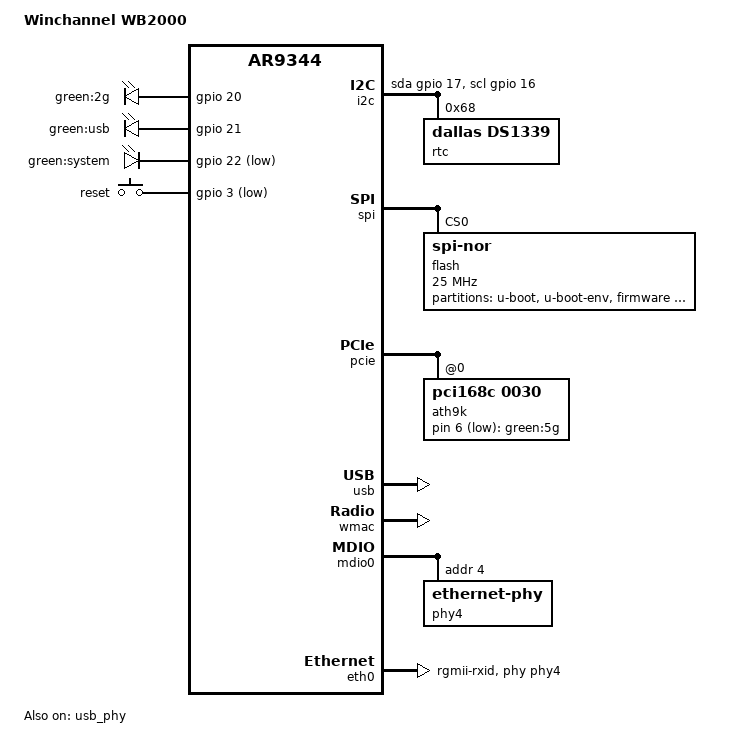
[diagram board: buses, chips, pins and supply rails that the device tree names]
// SPDX-License-Identifier: GPL-2.0-or-later OR MIT

#include "ar9344.dtsi"

#include <dt-bindings/gpio/gpio.h>
#include <dt-bindings/input/input.h>

/ {
	model = "Winchannel WB2000";
	compatible = "winchannel,wb2000", "qca,ar9344";

	chosen {
		bootargs = "console=ttyS0,115200n8";
	};

	aliases {
		led-boot = &led_system;
		led-failsafe = &led_system;
		led-running = &led_system;
		led-upgrade = &led_system;
	};

	i2c {
		compatible = "i2c-gpio";
		gpios = <&gpio 17 GPIO_ACTIVE_HIGH
			 &gpio 16 GPIO_ACTIVE_HIGH
			>;
		#address-cells = <1>;
		#size-cells = <0>;

		rtc@68 {
			compatible = "dallas,ds1339";
			reg = <0x68>;
		};
	};

	leds {
		compatible = "gpio-leds";

		wlan2g {
			label = "green:2g";
			gpios = <&gpio 20 GPIO_ACTIVE_HIGH>;
			linux,default-trigger = "phy0tpt";
		};

		usb {
			label = "green:usb";
			gpios = <&gpio 21 GPIO_ACTIVE_HIGH>;
			trigger-sources = <&hub_port1>, <&hub_port2>;
			linux,default-trigger = "usbport";
		};

		led_system: system {
			label = "green:system";
			gpios = <&gpio 22 GPIO_ACTIVE_LOW>;
			default-state = "on";
		};
	};

	keys {
		compatible = "gpio-keys";

		reset {
			linux,code = <KEY_RESTART>;
			gpios = <&gpio 3 GPIO_ACTIVE_LOW>;
			debounce-interval = <60>;
		};
	};

	ath9k-leds {
		compatible = "gpio-leds";

		wlan {
			label = "green:5g";
			gpios = <&ath9k 6 GPIO_ACTIVE_LOW>;
			linux,default-trigger = "phy1tpt";
		};
	};
};

&ref {
	clock-frequency = <40000000>;
};

&spi {
	status = "okay";

	flash@0 {
		compatible = "jedec,spi-nor";
		reg = <0>;
		spi-max-frequency = <25000000>;

		partitions {
			compatible = "fixed-partitions";
			#address-cells = <1>;
			#size-cells = <1>;

			partition@0 {
				label = "u-boot";
				reg = <0x0 0x40000>;
				read-only;
			};

			partition@40000 {
				label = "u-boot-env";
				reg = <0x40000 0x10000>;
				read-only;
			};

			partition@50000 {
				label = "firmware";
				reg = <0x50000 0xf80000>;
				compatible = "denx,uimage";
			};

			partition@fd0000 {
				label = "nvram";
				reg = <0xfd0000 0x10000>;
				read-only;
			};

			art: partition@fe0000 {
				label = "art";
				reg = <0xfe0000 0x10000>;
				read-only;
			};

			addr: partition@ff0000 {
				label = "addr";
				reg = <0xff0000 0x10000>;
				read-only;
			};
		};
	};
};

&pcie {
	status = "okay";

	ath9k: wifi@0,0 {
		compatible = "pci168c,0030";
		reg = <0x0000 0 0 0 0>;
		qca,no-eeprom;
		nvmem-cells = <&macaddr_addr_0>;
		nvmem-cell-names = "mac-address";
		mac-address-increment = <0x10>;
		#gpio-cells = <2>;
		gpio-controller;
	};
};

&usb {
	#address-cells = <1>;
	#size-cells = <0>;
	status = "okay";

	port@1 {
		#address-cells = <1>;
		#size-cells = <0>;
		reg = <1>;
		#trigger-source-cells = <0>;

		hub_port1: port@1 {
			reg = <1>;
			#trigger-source-cells = <0>;
		};

		hub_port2: port@2 {
			reg = <2>;
			#trigger-source-cells = <0>;
		};
	};
};

&usb_phy {
	status = "okay";
};

&wmac {
	status = "okay";

	mtd-cal-data = <&art 0x1000>;
	nvmem-cells = <&macaddr_addr_0>;
	nvmem-cell-names = "mac-address";
};

&mdio0 {
	status = "okay";

	phy-mask = <0x10>;

	phy4: ethernet-phy@4 {
		reg = <4>;
	};
};

&eth0 {
	status = "okay";

	pll-data = <0xe000000 0x04000101 0x04001313>;

	nvmem-cells = <&macaddr_addr_0>;
	nvmem-cell-names = "mac-address";
	mac-address-increment = <0x21>;

	phy-mode = "rgmii-rxid";
	phy-handle = <&phy4>;

	gmac-config {
		device = <&gmac>;
		rgmii-gmac0 = <1>;
		rxd-delay = <1>;
		rxdv-delay = <1>;
	};
};

&addr {
	compatible = "nvmem-cells";
	#address-cells = <1>;
	#size-cells = <1>;

	macaddr_addr_0: macaddr@0 {
		reg = <0x0 0x6>;
	};
};
